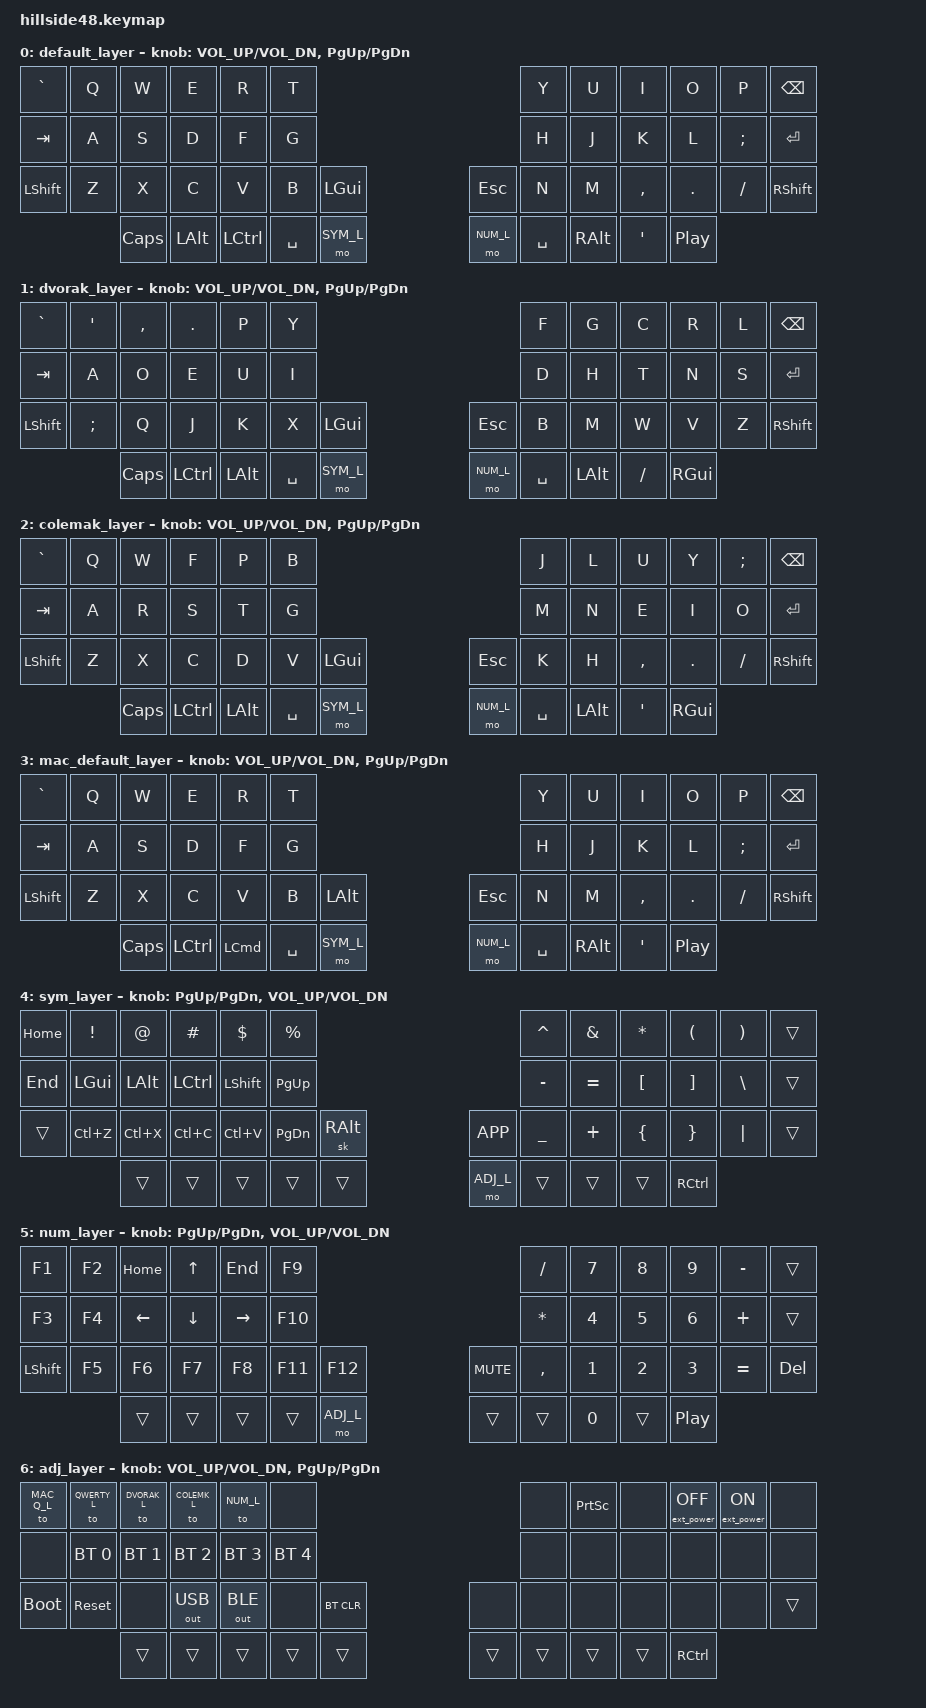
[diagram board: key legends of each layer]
/*
 * Copyright (c) 2022 The ZMK Contributors
 *
 * SPDX-License-Identifier: MIT
 */

#include <behaviors.dtsi>
#include <dt-bindings/zmk/bt.h>
#include <dt-bindings/zmk/ext_power.h>
#include <dt-bindings/zmk/keys.h>
#include <dt-bindings/zmk/outputs.h>

#define QWERTY_L 0
#define DVORAK_L 1
#define COLEMK_L 2
#define MAC_Q_L  3
#define SYM_L    4
#define NUM_L    5
#define ADJ_L    6


#define Undo   LC(Z)
#define Cut    LC(X)
#define Copy   LC(C)
#define Paste  LC(V)

/ {
        keymap {
                compatible = "zmk,keymap";

                default_layer {
/* QWERTY
 * -------------------------------------------------------------------------------------------------------------------------------------
 * | `     |   Q   |   W   |   E   |   R   |   T   |-----------------------------------|   Y   |   U   |   I   |   O   |   P   | BKSPC |
 * | TAB   |   A   |   S   |   D   |   F   |   G   |-----------------------------------|   H   |   J   |   K   |   L   |   ;   | ENTER |
 * | SHIFT |   Z   |   X   |   C   |   V   |   B   | GUI   |-------------------|  ESC  |   N   |   M   |   ,   |   .   |   /   | SHIFT |
 * ----------------| CAPS  |-------|  ALT  |  CTRL | SPACE |  Sym  |---|  Num  | SPACE |  ALT  |   '   |-------|Play/P |----------------
 */
                        bindings = <
&kp  GRAVE    &kp  Q        &kp  W        &kp  E        &kp  R        &kp  T                                                                         &kp  Y        &kp  U        &kp  I        &kp  O        &kp  P        &kp  BSPC
&kp  TAB      &kp  A        &kp  S        &kp  D        &kp  F        &kp  G                                                                         &kp  H        &kp  J        &kp  K        &kp  L        &kp  SEMI     &kp  ENTER  
&kp  LSHFT    &kp  Z        &kp  X        &kp  C        &kp  V        &kp  B        &kp  LGUI                                          &kp   ESC     &kp  N        &kp  M        &kp  COMMA    &kp  DOT      &kp  SLASH    &kp  RSHFT
                            &kp  CAPS                   &kp  LALT     &kp  LCTRL    &kp  SPACE    &mo  SYM_L             &mo  NUM_L    &kp  SPACE    &kp  RALT     &kp  SQT                    &kp  C_PP   
                        >;

                        sensor-bindings = <&inc_dec_kp C_VOL_UP C_VOL_DN &inc_dec_kp PG_UP PG_DN>;
                };

                dvorak_layer {
/* DVORAK
 * -------------------------------------------------------------------------------------------------------------------------------------
 * | `     |   '   |   ,   |   .   |   P   |   Y   |-----------------------------------|   F   |   G   |   C   |   R   |   L   | BKSPC |
 * | TAB   |   A   |   O   |   E   |   U   |   I   |-----------------------------------|   D   |   H   |   T   |   N   |   S   | ENTER |
 * | SHIFT |   ;   |   Q   |   J   |   K   |   X   | GUI   |-------------------|  ESC  |   B   |   M   |   W   |   V   |   Z   | SHIFT |
 * ----------------| CAPS  |-------|  CTRL |  ALT  | SPACE |  Sym  |---|  Num  | SPACE |  ALT  |   /   |-------|  GUI  |----------------
 */
                        bindings = <
&kp  GRAVE    &kp  SQT      &kp  COMMA    &kp  DOT      &kp  P        &kp  Y                                                                         &kp  F        &kp  G        &kp  C        &kp  R        &kp  L        &kp  BSPC
&kp  TAB      &kp  A        &kp  O        &kp  E        &kp  U        &kp  I                                                                         &kp  D        &kp  H        &kp  T        &kp  N        &kp  S        &kp  ENTER
&kp  LSHFT    &kp  SEMI     &kp  Q        &kp  J        &kp  K        &kp  X        &kp  LGUI                                          &kp   ESC     &kp  B        &kp  M        &kp  W        &kp  V        &kp  Z        &kp  RSHFT
                            &kp  CAPS                   &kp  LCTRL    &kp  LALT     &kp  SPACE    &mo  SYM_L             &mo  NUM_L    &kp  SPACE    &kp  LALT     &kp  SLASH                  &kp  RGUI 
                        >;

                        sensor-bindings = <&inc_dec_kp C_VOL_UP C_VOL_DN &inc_dec_kp PG_UP PG_DN>;
                };

                colemak_layer {
/* COLEMAK-DH
 * -------------------------------------------------------------------------------------------------------------------------------------
 * | `     |   Q   |   W   |   F   |   P   |   B   |-----------------------------------|   J   |   L   |   U   |   Y   |   ;   | BKSPC |
 * | TAB   |   A   |   R   |   S   |   T   |   G   |-----------------------------------|   M   |   N   |   E   |   I   |   O   | ENTER |
 * | SHIFT |   Z   |   X   |   C   |   D   |   V   | GUI   |-------------------|  ESC  |   K   |   H   |   ,   |   .   |   /   | SHIFT |
 * ----------------| CAPS  |-------|  CTRL |  ALT  | SPACE |  Sym  |---|  Num  | SPACE |  ALT  |   '   |-------|  GUI  |----------------
 */
                        bindings = <
&kp  GRAVE    &kp  Q        &kp  W        &kp  F        &kp  P        &kp  B                                                                         &kp  J        &kp  L        &kp  U        &kp  Y        &kp  SEMI     &kp  BSPC
&kp  TAB      &kp  A        &kp  R        &kp  S        &kp  T        &kp  G                                                                         &kp  M        &kp  N        &kp  E        &kp  I        &kp  O        &kp  ENTER
&kp  LSHFT    &kp  Z        &kp  X        &kp  C        &kp  D        &kp  V        &kp  LGUI                                          &kp   ESC     &kp  K        &kp  H        &kp  COMMA    &kp  DOT      &kp  SLASH    &kp  RSHFT
                            &kp  CAPS                   &kp  LCTRL    &kp  LALT     &kp  SPACE    &mo  SYM_L             &mo  NUM_L    &kp  SPACE    &kp  LALT     &kp  SQT                    &kp  RGUI   
                        >;

                        sensor-bindings = <&inc_dec_kp C_VOL_UP C_VOL_DN &inc_dec_kp PG_UP PG_DN>;
                };

                mac_default_layer {
/* MAC_QWERTY
 * -------------------------------------------------------------------------------------------------------------------------------------
 * | `     |   Q   |   W   |   E   |   R   |   T   |-----------------------------------|   Y   |   U   |   I   |   O   |   P   | BKSPC |
 * | TAB   |   A   |   S   |   D   |   F   |   G   |-----------------------------------|   H   |   J   |   K   |   L   |   ;   | ENTER |
 * | SHIFT |   Z   |   X   |   C   |   V   |   B   | ALT   |-------------------|  ESC  |   N   |   M   |   ,   |   .   |   /   | SHIFT |
 * ----------------| CAPS  |-------|  CTRL |  CMD  | SPACE |  Sym  |---|  Num  | SPACE |  ALT  |   '   |-------|Play/P |----------------
 */
                        bindings = <
&kp  GRAVE    &kp  Q        &kp  W        &kp  E        &kp  R        &kp  T                                                                         &kp  Y        &kp  U        &kp  I        &kp  O        &kp  P        &kp  BSPC
&kp  TAB      &kp  A        &kp  S        &kp  D        &kp  F        &kp  G                                                                         &kp  H        &kp  J        &kp  K        &kp  L        &kp  SEMI     &kp  ENTER  
&kp  LSHFT    &kp  Z        &kp  X        &kp  C        &kp  V        &kp  B        &kp  LALT                                          &kp   ESC     &kp  N        &kp  M        &kp  COMMA    &kp  DOT      &kp  SLASH    &kp  RSHFT
                            &kp  CAPS                   &kp  LCTRL    &kp  LCMD     &kp  SPACE    &mo  SYM_L             &mo  NUM_L    &kp  SPACE    &kp  RALT     &kp  SQT                    &kp  C_PP   
                        >;

                        sensor-bindings = <&inc_dec_kp C_VOL_UP C_VOL_DN &inc_dec_kp PG_UP PG_DN>;
                };

                sym_layer {
/* SYM
 * -------------------------------------------------------------------------------------------------------------------------------------
 * | HOME  |   !   |   @   |   #   |   $   |   %   |-----------------------------------|   ^   |   &   |   *   |   (   |   )   | BSPC  |
 * | END   |  GUI  |  Alt  | Ctrl  | Shift | Pg Up |-----------------------------------|   -   |   =   |   [   |   ]   |   \   | ENTER |
 * | Shift |  UnDo |  Cut  | Copy  | Paste | Pg Dn |OsAltGr|-------------------| MENU  |   _   |   +   |   {   |   }   |   |   | SHIFT |
 * ----------------|       |-------|       |       |       |       |---| ADJ_L |       |       |       |-------| CTRL  |----------------
 */
                        bindings = <
&kp  HOME     &kp  EXCL     &kp  AT       &kp  HASH     &kp  DOLLAR   &kp  PERCENT                                                                   &kp  CARET    &kp  AMPS     &kp  ASTRK    &kp  LPAR     &kp  RPAR     &trans
&kp  END      &kp  LGUI     &kp  LALT     &kp  LCTRL    &kp  LSHFT    &kp  PG_UP                                                                     &kp  MINUS    &kp  EQUAL    &kp  LBKT     &kp  RBKT     &kp  BSLH     &trans
&trans        &kp  Undo     &kp  Cut      &kp  Copy     &kp  Paste    &kp  PG_DN    &sk  RALT                                          &kp  K_APP    &kp  UNDER    &kp  PLUS     &kp  LBRC     &kp  RBRC     &kp  PIPE     &trans
                            &trans                      &trans        &trans        &trans        &trans                 &mo  ADJ_L    &trans        &trans        &trans                      &kp  RCTRL    
                        >;

                        sensor-bindings = <&inc_dec_kp PG_UP PG_DN &inc_dec_kp C_VOL_UP C_VOL_DN>;
                };

                num_layer {
/* NUM
 * -------------------------------------------------------------------------------------------------------------------------------------
 * | F1    |  F2   | Home  |  Up   |  End  |  F9   |-----------------------------------|   /   |   7   |   8   |   9   |   -   | BSPC  |
 * | F3    |  F4   | Left  | Down  | Right |  F10  |-----------------------------------|   *   |   4   |   5   |   6   |   +   | ENTER |
 * | Shift |  F5   |  F6   |  F7   |  F8   |  F11  |  F12  |-------------------| MUTE  |   ,   |   1   |   2   |   3   |   =   | DELETE|
 * ----------------|       |-------|       |       |       | ADJ_L |---|       |       |   0   |       |-------|Play/P |----------------
 */
                        bindings = <
&kp  F1       &kp  F2       &kp  HOME     &kp  UP       &kp  END      &kp  F9                                                                        &kp  SLASH  &kp   N7      &kp   N8      &kp   N9      &kp  MINUS    &trans
&kp  F3       &kp  F4       &kp  LEFT     &kp  DOWN     &kp  RIGHT    &kp  F10                                                                       &kp  ASTRK  &kp   N4      &kp   N5      &kp   N6      &kp  PLUS     &trans
&kp  LSHFT    &kp  F5       &kp  F6       &kp  F7       &kp  F8       &kp  F11      &kp F12                                            &kp  C_MUTE   &kp  COMMA  &kp   N1      &kp   N2      &kp   N3      &kp  EQUAL    &kp DEL
                            &trans                      &trans        &trans        &trans        &mo ADJ_L              &trans        &trans        &kp   N0    &trans                      &kp   C_PP   
                        >;

                        sensor-bindings = <&inc_dec_kp PG_UP PG_DN &inc_dec_kp C_VOL_UP C_VOL_DN>;
                };

                adj_layer {
/* ADJUST
 * ----------------------------------------------------------------------------------------------------------------------------------------
 * |MAC_QWERTY| QWERTY| DVORAK| COLEMK| NUM   |       |-----------------------------------|       |Prt Scr|       | EP_OFF| EP_ON |       |
 * |          | BT 0  | BT 1  | BT 2  | BT 3  | BT 4  |-----------------------------------|       |       |       |       |       |       |
 * |   BOOTL  | RESET |       |OUT_USB|OUT_BLE|       |BT CLR |-------------------|       |       |       |       |       |       | SHIFT |
 * -------------------|       |-------|       |       |       |       |---|       |       |       |       |-------| CTRL  |----------------
 */
                        bindings = <
&to MAC_Q_L   &to  QWERTY_L &to  DVORAK_L &to  COLEMK_L &to  NUM_L    &none                                                                             &none             &kp PRINTSCREEN    &none         &ext_power EP_OFF  &ext_power EP_ON &none
&none         &bt  BT_SEL 0 &bt  BT_SEL 1 &bt  BT_SEL 2 &bt  BT_SEL 3 &bt  BT_SEL 4                                                                     &none             &none              &none            &none           &none            &none
&bootloader   &sys_reset    &none         &out OUT_USB  &out OUT_BLE  &none         &bt BT_CLR                                         &none            &none             &none              &none            &none           &none            &trans
                            &trans                      &trans        &trans        &trans        &trans                 &trans        &trans           &trans            &trans                              &kp  RCTRL   
                        >;

                        sensor-bindings = <&inc_dec_kp C_VOL_UP C_VOL_DN &inc_dec_kp PG_UP PG_DN>;
                };
        };
};
